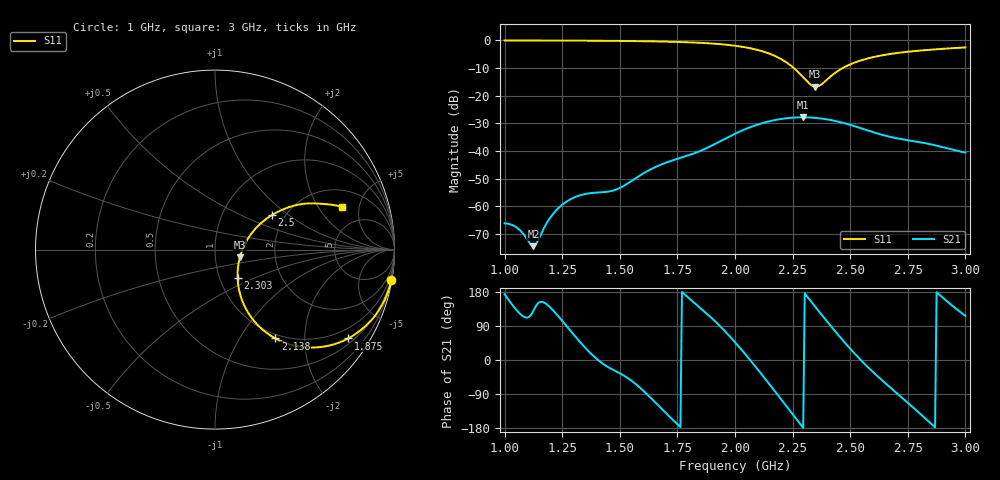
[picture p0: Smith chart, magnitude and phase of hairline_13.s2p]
! TOUCHSTONE file generated by CST MICROWAVE STUDIO
! Date and time: Tue Mar 18 20:31:40 2025
! Project name: hairline.cst
! Parameters = {B=12.5; D=160; F=15; Feed=2.85625; Fracture=0.5; L=100; M=30; R=0.384908; S=1.5; Theta=90; length=57.125; wave=114.25}
! Header version: 2024
! Port assignment regex: !\s*Touchstone port\s*([0-9]+)\s*=\s*(CST MWS port|CST DES external port|CST DES block port)\s*(.+)\s* \(\"(.*)\"\)(\s*mode\s*([0-9]+))?.*
! Touchstone port assignment:
! Touchstone port 1 = CST MWS port 1 ("")
! Touchstone port 2 = CST MWS port 2 ("")
# GHz S DB R 50
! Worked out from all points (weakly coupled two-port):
!   305 points, 1 GHz to 3 GHz, reference 50 ohm
!   highest |S21| = -27.81 dB at 2.296 GHz (marker M1); lowest = -74.4 dB at 1.125 GHz (marker M2)
!   lowest |S11| = -16.8 dB at 2.349 GHz (marker M3), VSWR 1.34, Z = 65.8 - j5.74 ohm
!   |S11| at or under -10 dB: 2.255 GHz to 2.467 GHz (212 MHz wide, 8.98 % of centre)
!   S12 and S22 are empty: the file has one direction only
!   S11 on the Smith chart (normalised r, x): 1 GHz: 0, -12; 1.875 GHz: 0.66, -3.18; 2.138 GHz: 0.94, -1.44; 2.303 GHz: 1.22, -0.40; 2.5 GHz: 1.71, +0.76; 3 GHz: 3.11, +3.34
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1  -0.02 -9.7  -66.14 173.6  -200.00 0.0  -200.00 0.0
1.05921  -0.03 -10.5  -68.10 126.6  -200.00 0.0  -200.00 0.0
1.125  -0.04 -11.5  -74.41 130.1  -200.00 0.0  -200.00 0.0
1.13816  -0.04 -11.7  -73.41 144.9  -200.00 0.0  -200.00 0.0
1.19079  -0.05 -12.5  -64.97 142.8  -200.00 0.0  -200.00 0.0
1.22368  -0.06 -13.1  -61.46 122.0  -200.00 0.0  -200.00 0.0
1.27632  -0.07 -14.0  -57.90 84.0  -200.00 0.0  -200.00 0.0
1.33553  -0.09 -15.1  -55.81 41.9  -200.00 0.0  -200.00 0.0
1.48684  -0.18 -18.5  -53.84 -31.0  -200.00 0.0  -200.00 0.0
1.67105  -0.39 -24.1  -45.17 -122.4  -200.00 0.0  -200.00 0.0
1.875  -0.99 -33.7  -39.01 123.7  -200.00 0.0  -200.00 0.0
2  -1.93 -42.7  -33.75 46.9  -200.00 0.0  -200.00 0.0
2.13816  -4.46 -55.8  -29.47 -55.3  -200.00 0.0  -200.00 0.0
2.22368  -7.98 -62.2  -28.14 -122.2  -200.00 0.0  -200.00 0.0
2.29605  -13.32 -54.0  -27.81 -179.0  -200.00 0.0  -200.00 0.0
2.30263  -13.91 -51.4  -27.82 175.9  -200.00 0.0  -200.00 0.0
2.33553  -16.41 -29.4  -27.93 150.3  -200.00 0.0  -200.00 0.0
2.34868  -16.76 -17.1  -28.02 140.2  -200.00 0.0  -200.00 0.0
2.42105  -12.62 25.4  -28.89 85.7  -200.00 0.0  -200.00 0.0
2.5  -8.66 31.2  -30.54 29.8  -200.00 0.0  -200.00 0.0
2.67105  -4.94 26.9  -34.84 -70.9  -200.00 0.0  -200.00 0.0
3  -2.54 18.6  -40.58 116.4  -200.00 0.0  -200.00 0.0
